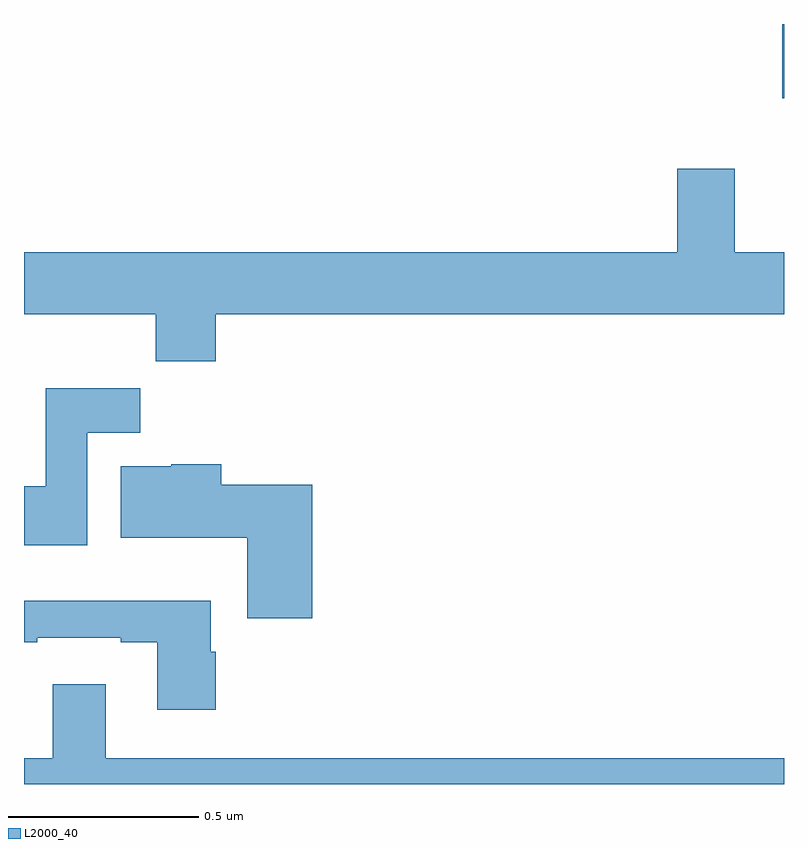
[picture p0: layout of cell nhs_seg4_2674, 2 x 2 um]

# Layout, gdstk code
import gdstk
lib = gdstk.Library(unit=1e-6, precision=1e-09)
def R(c, l, rs):  # rectangles x0, y0, x1, y1
    for r in rs: c.add(gdstk.rectangle(r[:2], r[2:], *l))
def P(c, l, *ps):  # polygons
    for p in ps: c.add(gdstk.Polygon(p, *l))
L2000_40 = (2000, 40)

nhs_seg4_2674 = lib.new_cell('nhs_seg4_2674')
R(nhs_seg4_2674, L2000_40, [(144.995,814.704,145,814.9)])
P(nhs_seg4_2674, L2000_40, [(143.504,814.136),(145,814.136),(145,814.3),(144.871,814.3),(144.871,814.519),(144.719,814.519),(144.719,814.3),(143,814.3),(143,814.136),(143.347,814.136),(143.347,814.012),(143.504,814.012)],
  [(143.167,813.824),(143.306,813.824),(143.306,813.942),(143.057,813.942),(143.057,813.684),(143,813.684),(143,813.528),(143.167,813.528)],
  [(143.759,813.688),(143.519,813.688),(143.519,813.742),(143.388,813.742),(143.388,813.736),(143.255,813.736),(143.255,813.548),(143.588,813.548),(143.588,813.336),(143.759,813.336)],
  [(143.504,813.248),(143.491,813.248),(143.491,813.382),(143,813.382),(143,813.273),(143.035,813.273),(143.035,813.285),(143.255,813.285),(143.255,813.273),(143.351,813.273),(143.351,813.096),(143.504,813.096)],
  [(145,812.968),(143.215,812.968),(143.215,813.163),(143.075,813.163),(143.075,812.968),(143,812.968),(143,812.9),(145,812.9)])

lib.write_gds('nhs_seg4_2674.gds')
